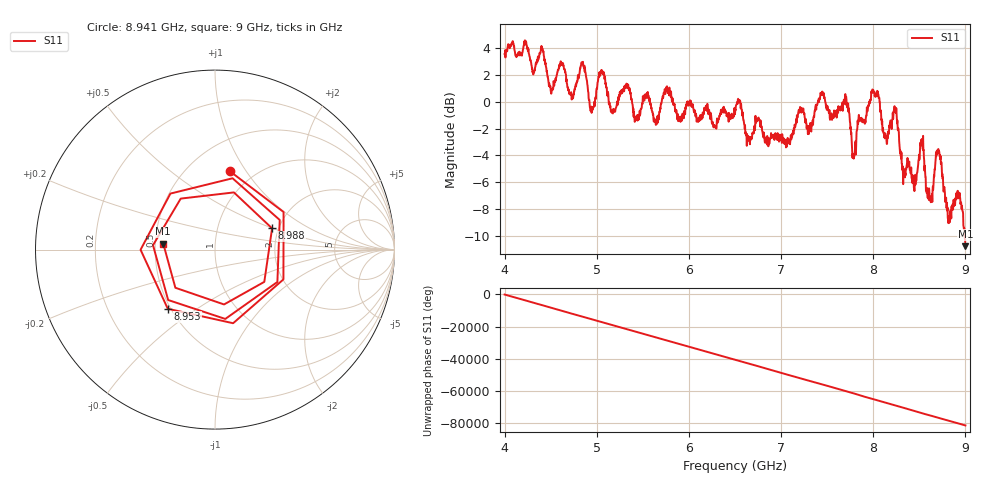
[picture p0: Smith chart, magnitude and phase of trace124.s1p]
! Created with skrf 1.8.0 (http://scikit-rf.org).
# Hz S RI R 50.0
!freq ReS11 ImS11
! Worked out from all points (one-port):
!   1601 points, 4 GHz to 9 GHz, reference 50 ohm
!   lowest |S11| = -10.8 dB at 9 GHz (marker M1), VSWR 1.82, Z = 27.6 + j1.96 ohm
!   |S11| at or under -10 dB: 8.992926 GHz to end of sweep
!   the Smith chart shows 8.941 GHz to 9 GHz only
!   S11 on the Smith chart (normalised r, x): 8.941 GHz: 0.78, +0.85; 8.953 GHz: 0.48, -0.39; 8.988 GHz: 1.85, +0.49; 9 GHz: 0.55, +0.04
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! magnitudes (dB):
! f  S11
! 4 GHz  3.5
! 4.403 GHz  4.0
! 4.503 GHz  0.7
! 4.625 GHz  2.8
! 4.725 GHz  0.4
! 4.853 GHz  2.7
! 4.944 GHz  -0.8
! 5.05 GHz  2.4
! 5.166 GHz  -0.8
! 5.25 GHz  0.7
! 5.875 GHz  -1.3
! 6.5 GHz  -0.9
! 7.125 GHz  -2.4
! 7.447 GHz  0.8
! 7.75 GHz  -1.6
! 7.791 GHz  -4.1
! 8.031 GHz  0.5
! 8.134 GHz  -2.7
! 8.238 GHz  -0.6
! 8.375 GHz  -4.8
! 8.528 GHz  -2.9
! 8.616 GHz  -7.2
! 8.706 GHz  -3.5
! 8.822 GHz  -8.7
! 8.941 GHz  -7.1
! 8.953 GHz  -7.5
! 8.988 GHz  -9.4
! 9 GHz  -10.8
